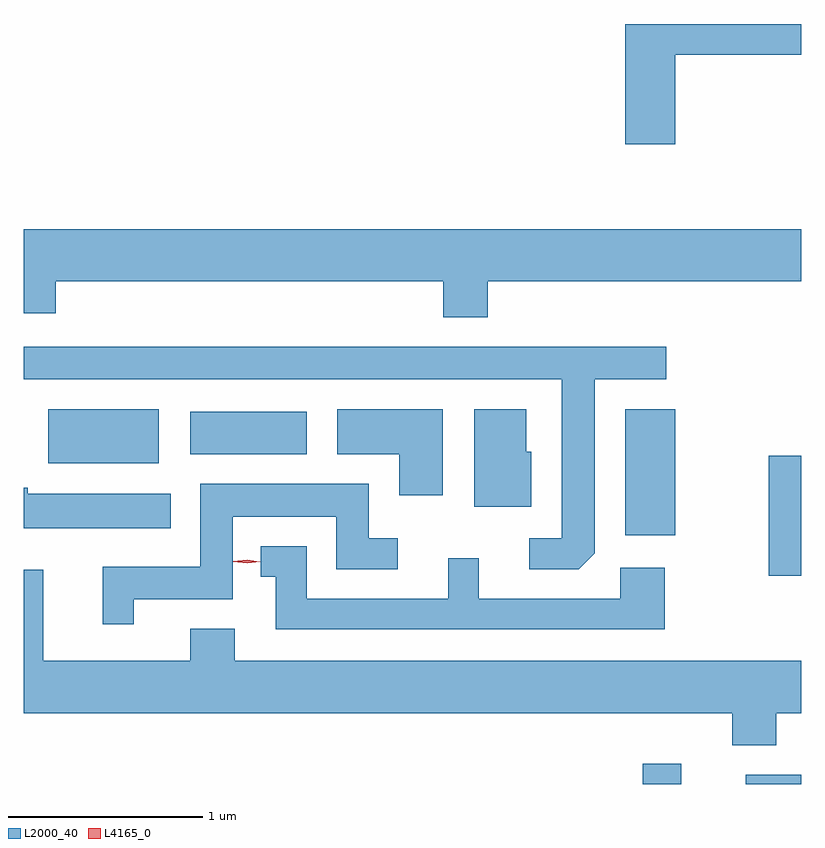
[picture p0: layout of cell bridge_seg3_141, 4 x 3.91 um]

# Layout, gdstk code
import gdstk
lib = gdstk.Library(unit=1e-6, precision=1e-09)
def R(c, l, rs):  # rectangles x0, y0, x1, y1
    for r in rs: c.add(gdstk.rectangle(r[:2], r[2:], *l))
def P(c, l, *ps):  # polygons
    for p in ps: c.add(gdstk.Polygon(p, *l))
L2000_40 = (2000, 40)
L4165_0 = (4165, 0)

bridge_seg3_141 = lib.new_cell('bridge_seg3_141')
R(bridge_seg3_141, L2000_40, [(763.326,1203.351,763.524,1203.454), (763.856,1203.351,764.143,1203.399), (763.976,1204.421,764.143,1205.039), (763.236,1204.631,763.494,1205.279), (760.271,1205.001,760.839,1205.279), (761.001,1205.046,761.599,1205.264)])
P(bridge_seg3_141, L2000_40, [(763.494,1207.101),(764.143,1207.101),(764.143,1207.259),(763.236,1207.259),(763.236,1206.641),(763.494,1206.641)],
  [(762.529,1205.936),(764.143,1205.936),(764.143,1206.204),(760.143,1206.204),(760.143,1205.771),(760.309,1205.771),(760.309,1205.936),(762.301,1205.936),(762.301,1205.751),(762.529,1205.751)],
  [(763.079,1204.537),(763.079,1205.431),(763.448,1205.431),(763.448,1205.599),(760.143,1205.599),(760.143,1205.431),(762.911,1205.431),(762.911,1204.614),(762.743,1204.614),(762.743,1204.456),(762.999,1204.456)],
  [(762.299,1205.279),(761.756,1205.279),(761.756,1205.046),(762.076,1205.046),(762.076,1204.836),(762.299,1204.836)],
  [(762.754,1205.059),(762.729,1205.059),(762.729,1205.279),(762.461,1205.279),(762.461,1204.776),(762.754,1204.776)],
  [(760.709,1204.301),(761.219,1204.301),(761.219,1204.726),(761.751,1204.726),(761.751,1204.456),(762.068,1204.456),(762.068,1204.614),(761.919,1204.614),(761.919,1204.894),(761.051,1204.894),(761.051,1204.469),(760.551,1204.469),(760.551,1204.173),(760.709,1204.173)],
  [(760.899,1204.844),(760.164,1204.844),(760.164,1204.874),(760.143,1204.874),(760.143,1204.666),(760.899,1204.666)],
  [(763.439,1204.464),(763.211,1204.464),(763.211,1204.304),(762.484,1204.304),(762.484,1204.513),(762.326,1204.513),(762.326,1204.304),(761.599,1204.304),(761.599,1204.574),(761.363,1204.574),(761.363,1204.416),(761.441,1204.416),(761.441,1204.146),(763.439,1204.146)],
  [(764.014,1203.716),(764.143,1203.716),(764.143,1203.984),(761.229,1203.984),(761.229,1204.149),(761.001,1204.149),(761.001,1203.984),(760.244,1203.984),(760.244,1204.453),(760.143,1204.453),(760.143,1203.716),(763.786,1203.716),(763.786,1203.551),(764.014,1203.551)])
P(bridge_seg3_141, L4165_0, [(761.292,1204.485),(761.222,1204.495),(761.222,1204.495),(761.222,1204.496),(761.292,1204.505),(761.361,1204.495),(761.361,1204.495),(761.361,1204.494)])

lib.write_gds('bridge_seg3_141.gds')
